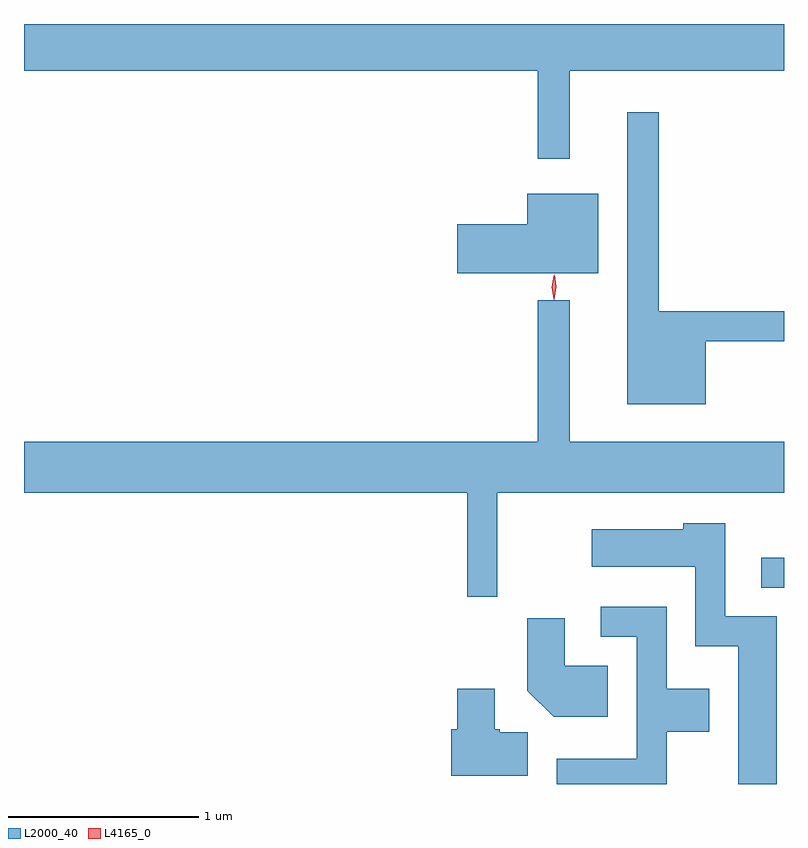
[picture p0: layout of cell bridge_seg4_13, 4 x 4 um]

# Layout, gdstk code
import gdstk
lib = gdstk.Library(unit=1e-6, precision=1e-09)
def R(c, l, rs):  # rectangles x0, y0, x1, y1
    for r in rs: c.add(gdstk.rectangle(r[:2], r[2:], *l))
def P(c, l, *ps):  # polygons
    for p in ps: c.add(gdstk.Polygon(p, *l))
L2000_40 = (2000, 40)
L4165_0 = (4165, 0)

bridge_seg4_13 = lib.new_cell('bridge_seg4_13')
R(bridge_seg4_13, L2000_40, [(1168.538,1296.456,1168.657,1296.614)])
P(bridge_seg4_13, L2000_40, [(1167.529,1299.176),(1168.657,1299.176),(1168.657,1299.422),(1164.657,1299.422),(1164.657,1299.176),(1167.361,1299.176),(1167.361,1298.713),(1167.529,1298.713)],
  [(1168.244,1297.751),(1168.657,1297.751),(1168.657,1297.909),(1167.999,1297.909),(1167.999,1298.958),(1167.831,1298.958),(1167.831,1297.421),(1168.244,1297.421)],
  [(1167.679,1298.529),(1167.306,1298.529),(1167.306,1298.369),(1166.936,1298.369),(1166.936,1298.111),(1167.679,1298.111)],
  [(1167.149,1296.956),(1168.657,1296.956),(1168.657,1297.224),(1167.529,1297.224),(1167.529,1297.968),(1167.361,1297.968),(1167.361,1297.224),(1164.657,1297.224),(1164.657,1296.956),(1166.991,1296.956),(1166.991,1296.408),(1167.149,1296.408)],
  [(1168.619,1296.304),(1168.349,1296.304),(1168.349,1296.794),(1168.126,1296.794),(1168.126,1296.764),(1167.646,1296.764),(1167.646,1296.566),(1168.191,1296.566),(1168.191,1296.146),(1168.416,1296.146),(1168.416,1295.422),(1168.619,1295.422)],
  [(1168.039,1295.696),(1168.264,1295.696),(1168.264,1295.924),(1168.039,1295.924),(1168.039,1296.354),(1167.693,1296.354),(1167.693,1296.196),(1167.881,1296.196),(1167.881,1295.554),(1167.461,1295.554),(1167.461,1295.422),(1168.039,1295.422)],
  [(1167.729,1296.044),(1167.504,1296.044),(1167.504,1296.294),(1167.306,1296.294),(1167.306,1295.914),(1167.444,1295.776),(1167.729,1295.776)],
  [(1167.309,1295.694),(1167.16,1295.694),(1167.16,1295.709),(1167.134,1295.709),(1167.134,1295.924),(1166.936,1295.924),(1166.936,1295.709),(1166.906,1295.709),(1166.906,1295.466),(1167.309,1295.466)])
P(bridge_seg4_13, L4165_0, [(1167.448,1297.97),(1167.439,1298.038),(1167.45,1298.106),(1167.45,1298.106),(1167.451,1298.106),(1167.459,1298.038),(1167.449,1297.97),(1167.449,1297.97)],
  [(1167.445,1297.973),(1167.444,1297.974),(1167.435,1298.036),(1167.444,1298.1),(1167.445,1298.1),(1167.446,1298.1),(1167.455,1298.036),(1167.446,1297.974)])

lib.write_gds('bridge_seg4_13.gds')
